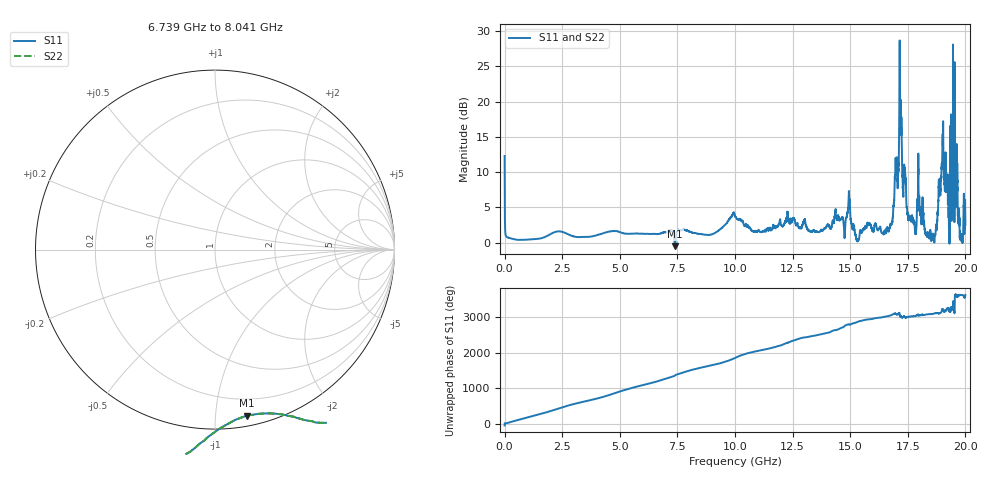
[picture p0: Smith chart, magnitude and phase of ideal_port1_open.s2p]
! Created with skrf (http://scikit-rf.org).
# GHz S RI R 50.0
!freq ReS11 ImS11 ReS21 ImS21 ReS12 ImS12 ReS22 ImS22
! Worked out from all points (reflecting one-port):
!   10001 points, 1 MHz to 20 GHz, reference 50 ohm
!   lowest |S11| = -0.5 dB at 7.395 GHz (marker M1), VSWR 33.62, Z = 3.67 - j60.4 ohm
!   phase of S11 starts at -41 deg and turns +3660 deg over the sweep
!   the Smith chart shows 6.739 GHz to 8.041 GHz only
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0.001  3.096 -2.706  0 0  0 0  3.096 -2.706
0.8849558  -1.016 0.2495  0 0  0 0  -1.016 0.2495
3.334833  -0.3454 -1.04  0 0  0 0  -0.3454 -1.04
6.668667  -0.6431 0.9534  0 0  0 0  -0.6431 0.9534
7.39463  0.1785 -0.9252  0 0  0 0  0.1785 -0.9252
8.20059  -0.0139 1.169  0 0  0 0  -0.0139 1.169
9.482526  0.3598 -1.242  0 0  0 0  0.3598 -1.242
10.0005  0.9546 1.193  0 0  0 0  0.9546 1.193
10.50647  -1.294 0.0474  0 0  0 0  -1.294 0.0474
12.21039  -0.3717 1.373  0 0  0 0  -0.3717 1.373
13.33433  0.6989 -0.964  0 0  0 0  0.6989 -0.964
14.28829  -0.4343 1.326  0 0  0 0  -0.4343 1.326
14.91025  0.195 -1.749  0 0  0 0  0.195 -1.749
16.66817  -1.056 0.581  0 0  0 0  -1.056 0.581
17.04615  -2.785 -0.4353  0 0  0 0  -2.785 -0.4353
17.12214  -3.564 -4.31  0 0  0 0  -3.564 -4.31
17.25014  -0.896 3.977  0 0  0 0  -0.896 3.977
17.47213  -0.7734 1.463  0 0  0 0  -0.7734 1.463
18.86206  -1.707 -1.739  0 0  0 0  -1.707 -1.739
19.02605  5.396 -1.863  0 0  0 0  5.396 -1.863
19.39803  1.382 0.3479  0 0  0 0  1.382 0.3479
20  1.265 0.4314  0 0  0 0  1.265 0.4314
